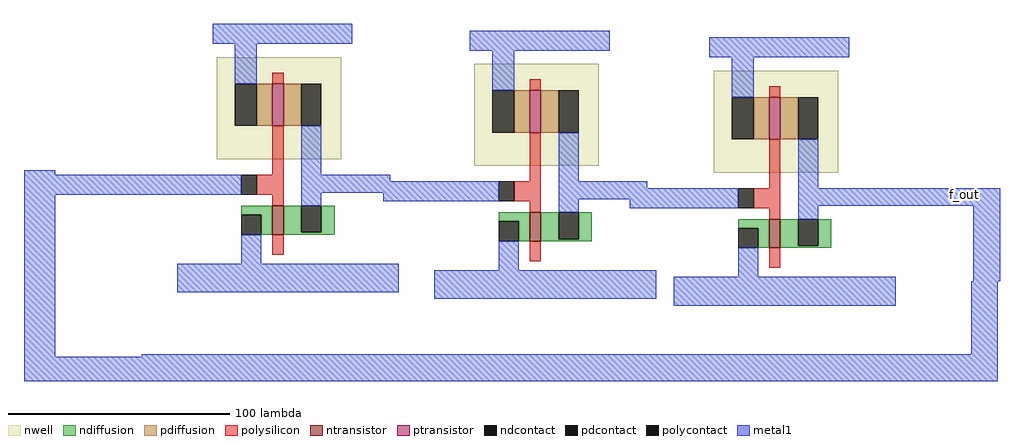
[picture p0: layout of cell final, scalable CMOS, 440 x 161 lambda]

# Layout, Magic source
magic
tech scmos
<< metal1 >>
rect -69 53 -55 55
rect -69 44 17 53
rect -69 -29 -55 44
rect 93 41 126 50
rect 204 38 242 47
rect 317 39 371 47
rect 359 5 371 39
rect 358 -28 370 5
rect -16 -29 370 -28
rect -69 -40 370 -29
use notg  notg_2
transform 1 0 261 0 1 53
box -37 -59 63 62
use notg  notg_1
transform 1 0 153 0 1 56
box -37 -59 63 62
use notg  notg_0
transform 1 0 37 0 1 59
box -37 -59 63 62
<< labels >>
rlabel metal1 355 44 355 44 1 f_out
<< end >>

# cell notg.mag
magic
tech scmos
<< nwell >>
rect -19 1 37 47
<< ntransistor >>
rect 6 -33 11 -20
<< ptransistor >>
rect 6 16 11 35
<< ndiffusion >>
rect -8 -24 6 -20
rect 1 -33 6 -24
rect 11 -32 19 -20
rect 28 -32 34 -20
rect 11 -33 34 -32
<< pdiffusion >>
rect -1 16 6 35
rect 11 16 19 35
<< ndcontact >>
rect -8 -33 1 -24
rect 19 -32 28 -20
<< pdcontact >>
rect -11 16 -1 35
rect 19 16 28 35
<< polysilicon >>
rect 6 35 11 40
rect 6 -6 11 16
rect -1 -15 11 -6
rect 6 -20 11 -15
rect 6 -42 11 -33
<< polycontact >>
rect -8 -15 -1 -6
<< metal1 >>
rect -21 53 42 62
rect -11 35 -1 53
rect 19 -6 28 16
rect -28 -15 -8 -6
rect 19 -14 59 -6
rect 19 -20 28 -14
rect -8 -46 1 -33
rect -37 -59 63 -46
<< labels >>
rlabel metal1 12 57 12 57 5 vdd
rlabel metal1 -22 -11 -22 -11 1 in
rlabel metal1 49 -10 49 -10 1 out
rlabel metal1 18 -52 18 -52 1 gnd
<< end >>
